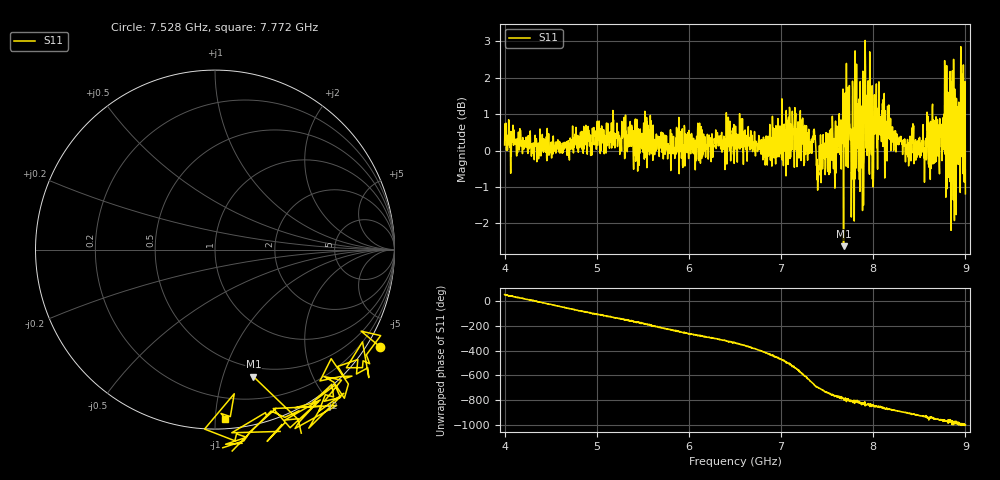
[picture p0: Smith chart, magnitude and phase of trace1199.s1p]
! Created with skrf 1.8.0 (http://scikit-rf.org).
# Hz S RI R 50.0
!freq ReS11 ImS11
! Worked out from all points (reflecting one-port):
!   1601 points, 4 GHz to 9 GHz, reference 50 ohm
!   lowest |S11| = -2.6 dB at 7.678 GHz (marker M1), VSWR 6.66, Z = 20.3 - j63.2 ohm
!   phase of S11 starts at 52 deg and turns -1052 deg over the sweep
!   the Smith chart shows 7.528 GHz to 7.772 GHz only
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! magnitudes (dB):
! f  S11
! 4 GHz  0.2
! 4.625 GHz  -0.1
! 5.25 GHz  -0.1
! 5.875 GHz  0.3
! 6.5 GHz  0.6
! 6.828 GHz  -0.4
! 7.125 GHz  0.7
! 7.353 GHz  0.5
! 7.409 GHz  -0.7
! 7.538 GHz  0.2
! 7.678 GHz  -2.6
! 7.731 GHz  0.3
! 7.75 GHz  0.5
! 7.788 GHz  0.4
! 7.8 GHz  -0.8
! 7.875 GHz  0.5
! 7.891 GHz  1.2
! 7.928 GHz  0.6
! 7.981 GHz  -0.1
! 8.038 GHz  0.1
! 8.375 GHz  0.0
! 8.725 GHz  0.6
! 8.788 GHz  -1.3
! 8.806 GHz  1.3
! 8.834 GHz  2.2
! 8.9 GHz  -1.8
! 8.972 GHz  0.6
! 9 GHz  -1.2
